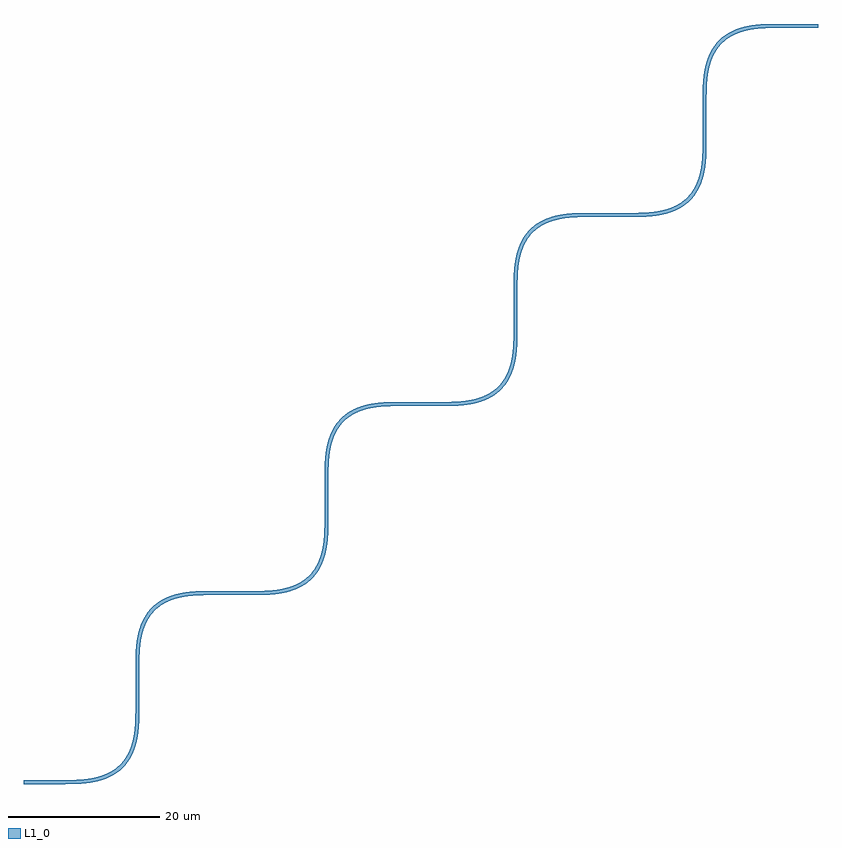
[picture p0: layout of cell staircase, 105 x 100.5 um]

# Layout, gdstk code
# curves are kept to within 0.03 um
from math import pi, radians
import gdstk
lib = gdstk.Library(unit=1e-6, precision=1e-09)
def R(c, l, rs):  # rectangles x0, y0, x1, y1
    for r in rs: c.add(gdstk.rectangle(r[:2], r[2:], *l))
def P(c, l, *ps):  # polygons
    for p in ps: c.add(gdstk.Polygon(p, *l))
L1_0 = (1, 0)

straight_length5_width50 = lib.new_cell('straight_length5_width500n')
R(straight_length5_width50, L1_0, [(0,-0.25,5,0.25)])

bend_euler = lib.new_cell('bend_euler')
P(bend_euler, L1_0, [(0,-0.25),(1.602,-0.235),(2.93,-0.158),(3.973,-0.02),(4.865,0.175),(5.829,0.491),(6.664,0.882),(7.404,1.353),(8.073,1.927),(8.647,2.596),(9.118,3.336),(9.509,4.171),(9.825,5.135),(10.02,6.027),(10.158,7.07),(10.235,8.398),(10.25,10),(9.75,10),(9.731,8.272),(9.651,7.025),(9.494,5.933),(9.213,4.826),(8.921,4.063),(8.591,3.419),(8.163,2.785),(7.751,2.313),(7.215,1.837),(6.581,1.409),(5.937,1.079),(5.217,0.801),(4.247,0.542),(2.975,0.349),(1.728,0.269),(0,0.25)])

staircase = lib.new_cell('staircase')
staircase.add(gdstk.Reference(straight_length5_width50, (0,0)))
staircase.add(gdstk.Reference(bend_euler, (5,0)))
staircase.add(gdstk.Reference(straight_length5_width50, (15,10), rotation=pi/2))
staircase.add(gdstk.Reference(bend_euler, (25,25), rotation=pi))
staircase.add(gdstk.Reference(straight_length5_width50, (25,25)))
staircase.add(gdstk.Reference(bend_euler, (30,25)))
staircase.add(gdstk.Reference(straight_length5_width50, (40,35), rotation=pi/2))
staircase.add(gdstk.Reference(bend_euler, (50,50), rotation=pi))
staircase.add(gdstk.Reference(straight_length5_width50, (50,50)))
staircase.add(gdstk.Reference(bend_euler, (55,50)))
staircase.add(gdstk.Reference(straight_length5_width50, (65,60), rotation=pi/2))
staircase.add(gdstk.Reference(bend_euler, (75,75), rotation=pi))
staircase.add(gdstk.Reference(straight_length5_width50, (75,75)))
staircase.add(gdstk.Reference(bend_euler, (80,75)))
staircase.add(gdstk.Reference(straight_length5_width50, (90,85), rotation=pi/2))
staircase.add(gdstk.Reference(bend_euler, (100,100), rotation=pi))
staircase.add(gdstk.Reference(straight_length5_width50, (100,100)))

lib.write_gds('staircase.gds')
